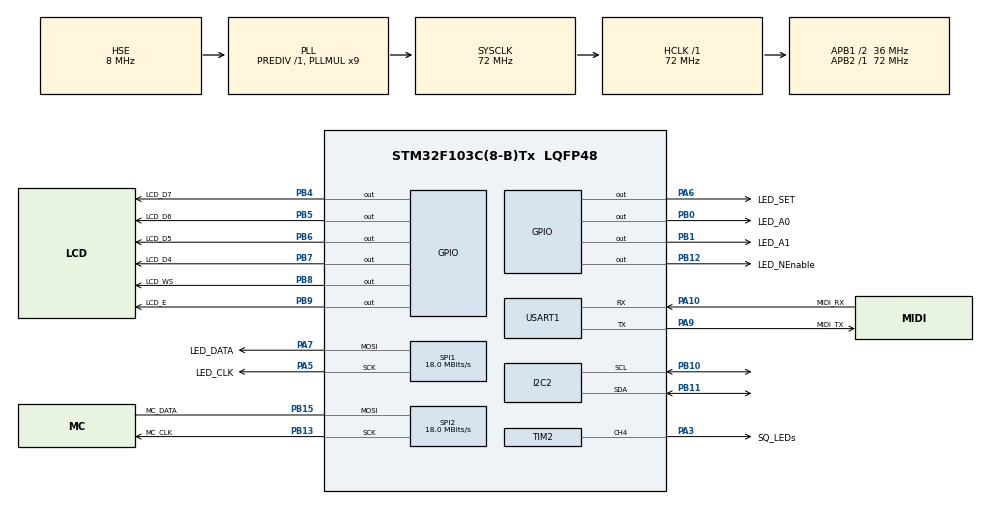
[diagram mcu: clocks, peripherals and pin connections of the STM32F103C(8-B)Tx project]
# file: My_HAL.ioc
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Dma.Request0=TIM2_CH2/CH4
Dma.TIM2_CH2/CH4.0.Direction=DMA_MEMORY_TO_PERIPH
Dma.TIM2_CH2/CH4.0.Instance=DMA1_Channel7
Dma.TIM2_CH2/CH4.0.MemDataAlignment=DMA_MDATAALIGN_BYTE
Dma.TIM2_CH2/CH4.0.MemInc=DMA_MINC_ENABLE
Dma.TIM2_CH2/CH4.0.Mode=DMA_CIRCULAR
Dma.TIM2_CH2/CH4.0.PeriphDataAlignment=DMA_PDATAALIGN_HALFWORD
Dma.TIM2_CH2/CH4.0.PeriphInc=DMA_PINC_DISABLE
Dma.TIM2_CH2/CH4.0.Priority=DMA_PRIORITY_VERY_HIGH
I2C2.I2C_Mode=I2C_Standard
Mcu.Family=STM32F1
Mcu.Name=STM32F103C(8-B)Tx
Mcu.Package=LQFP48
NVIC.DMA1_Channel7_IRQn=true\:0\:0\:false\:true\:true\:1\:false
NVIC.PriorityGroup=NVIC_PRIORITYGROUP_4
NVIC.SPI1_IRQn=true\:0\:0\:false\:false\:true\:true
NVIC.TIM4_IRQn=true\:0\:0\:false\:false\:true\:true
PA10.GPIO_Label=MIDI_RX
PA10.Mode=Asynchronous
PA10.Signal=USART1_RX
PA13.Mode=Serial_Wire
PA13.Signal=SYS_JTMS-SWDIO
PA14.Mode=Serial_Wire
PA14.Signal=SYS_JTCK-SWCLK
PA3.GPIO_Label=SQ_LEDs
PA3.GPIO_Speed=GPIO_SPEED_FREQ_HIGH
PA3.Signal=S_TIM2_CH4
PA5.GPIO_Label=LED_CLK
PA5.Mode=TX_Only_Simplex_Unidirect_Master
PA5.Signal=SPI1_SCK
PA6.GPIO_Label=LED_SET
PA6.GPIO_Speed=GPIO_SPEED_FREQ_LOW
PA6.Signal=GPIO_Output
PA7.GPIO_Label=LED_DATA
PA7.Mode=TX_Only_Simplex_Unidirect_Master
PA7.Signal=SPI1_MOSI
PA9.GPIO_Label=MIDI_TX
PA9.Mode=Asynchronous
PA9.Signal=USART1_TX
PB0.GPIO_Label=LED_A0
PB0.Signal=GPIO_Output
PB1.GPIO_Label=LED_A1
PB1.Signal=GPIO_Output
PB10.Mode=I2C
PB10.Signal=I2C2_SCL
PB11.Mode=I2C
PB11.Signal=I2C2_SDA
PB12.GPIO_Label=LED_NEnable
PB12.Signal=GPIO_Output
PB13.GPIO_Label=MC_CLK
PB13.Mode=Simplex_Bidirectional_Master
PB13.Signal=SPI2_SCK
PB15.GPIO_Label=MC_DATA
PB15.Mode=Simplex_Bidirectional_Master
PB15.Signal=SPI2_MOSI
PB4.GPIO_Label=LCD_D7
PB4.Signal=GPIO_Output
PB5.GPIO_Label=LCD_D6
PB5.Signal=GPIO_Output
PB6.GPIO_Label=LCD_D5
PB6.Signal=GPIO_Output
PB7.GPIO_Label=LCD_D4
PB7.Signal=GPIO_Output
PB8.GPIO_Label=LCD_WS
PB8.Signal=GPIO_Output
PB9.GPIO_Label=LCD_E
PB9.Signal=GPIO_Output
PD0-OSC_IN.Mode=HSE-External-Oscillator
PD0-OSC_IN.Signal=RCC_OSC_IN
PD1-OSC_OUT.Mode=HSE-External-Oscillator
PD1-OSC_OUT.Signal=RCC_OSC_OUT
ProjectManager.HeapSize=0x200
ProjectManager.StackSize=0x400
ProjectManager.TargetToolchain=SW4STM32
RCC.AHBFreq_Value=72000000
RCC.APB1CLKDivider=RCC_HCLK_DIV2
RCC.APB1Freq_Value=36000000
RCC.APB1TimFreq_Value=72000000
RCC.APB2Freq_Value=72000000
RCC.APB2TimFreq_Value=72000000
RCC.HCLKFreq_Value=72000000
RCC.PLLMUL=RCC_PLL_MUL9
RCC.PLLSourceVirtual=RCC_PLLSOURCE_HSE
RCC.SYSCLKFreq_VALUE=72000000
RCC.SYSCLKSource=RCC_SYSCLKSOURCE_PLLCLK
RCC.USBFreq_Value=72000000
SH.S_TIM2_CH4.0=TIM2_CH4,PWM Generation4 CH4
SPI1.BaudRatePrescaler=SPI_BAUDRATEPRESCALER_4
SPI1.CalculateBaudRate=18.0 MBits/s
SPI1.Direction=SPI_DIRECTION_2LINES
SPI1.Mode=SPI_MODE_MASTER
SPI1.VirtualType=VM_MASTER
SPI2.CalculateBaudRate=18.0 MBits/s
SPI2.Direction=SPI_DIRECTION_1LINE
SPI2.Mode=SPI_MODE_MASTER
SPI2.VirtualType=VM_MASTER
TIM2.Channel-PWM\ Generation4\ CH4=TIM_CHANNEL_4
TIM2.Period=40
TIM2.Prescaler=1
TIM4.Period=9
TIM4.Prescaler=7199
USART1.VirtualMode=VM_ASYNC
VP_TIM4_VS_ClockSourceINT.Mode=Internal
board=My_HAL

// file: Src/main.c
/**
 ******************************************************************************
 * @file           : main.c
 * @brief          : Main program body
 ******************************************************************************
 ******************************************************************************
 */
#include "main.h"
#include "stm32f1xx_hal.h"
#include "dma.h"
#include "i2c.h"
#include "spi.h"
#include "tim.h"
#include "usart.h"
#include "gpio.h"

/* USER CODE BEGIN Includes */
#include "global.h"
#include "lcd.h"
//#include "reg.h"
//#include "encoder.h"
//#include "My_enc.h"
#include "dig_LED.h"

#include "sequencer.h"
#include "MCP23017.h"
#include "MCP_button.h"

#include "DWT.h"

/* USER CODE END Includes */

/* USER CODE BEGIN PV */
/* Private variables ---------------------------------------------------------*/
volatile uint32_t millis = 0; // global ms counter
volatile uint32_t t_prev1 = 0;
char* str = "kek";

//u8 dataToSend[4] = { 'b', 0, 7, 1 };

#define PREAMBLESIZE 20                          // for leds
hsv led_hsv[DIG_LED_NUMBER];                       //
rgb led_rgb[DIG_LED_NUMBER];                       //
uint8_t buf[PREAMBLESIZE + DIG_LED_NUMBER * 24];   //
/* USER CODE END PV */

void SystemClock_Config(void);
static void MX_NVIC_Init(void);

/* USER CODE BEGIN PFP */
/* Private function prototypes -----------------------------------------------*/

/* USER CODE END PFP */

int main(void) {

	/* MCU Configuration----------------------------------------------------------*/

	/* Reset of all peripherals, Initializes the Flash interface and the Systick. */
	HAL_Init();

	/* Configure the system clock */
	SystemClock_Config();

	/* Initialize all configured peripherals */
	MX_GPIO_Init();
	MX_DMA_Init();
	MX_TIM4_Init();
	MX_I2C2_Init();
	MX_SPI1_Init();
	MX_TIM2_Init();
	MX_SPI2_Init();
	MX_USART1_UART_Init();

	/* Initialize interrupts */
	MX_NVIC_Init();
	/* USER CODE BEGIN 2 */
	HAL_TIM_Base_Start_IT(&htim4);   // timer 4 start
	LCD_Init();
	_LCD_STATE(CURSOR_ON, CURSOR_BLINK, DISPLAY_ON);

//	__HAL_RCC_I2C2_FORCE_RESET();  kek
//	HAL_Delay(1);
//	__HAL_RCC_I2C2_RELEASE_RESET();

	MCP23017_Init();
	MCP_Buttons_InitAll();
	//Reg_Init();

	//for (uint8_t i = 0; i < DIG_LED_NUMBER; i++) {  // for leds
	//	led_rgb[i] = hsv2rgb(led_hsv[i]);
	//}

	u16 yy = 0;                      // test

	/* USER CODE END 2 */

	/* Infinite loop */
	while (1) {

		/* USER CODE BEGIN 3 */

		//				HAL_Delay(5000);
		//				for (int i = 0; i < 4; i++)
		//					Reg_Send(&dataToSend[i]);
		if (yy < 360)
			yy++;
		else
			yy = 0;

		for (uint8_t i = 0; i < DIG_LED_NUMBER; i++) {  // for leds
			led_hsv[i].h = (yy + 5 * i) % 361;
			led_hsv[i].s = 1;
			led_hsv[i].v = 0.01;
			led_rgb[i] = hsv2rgb(led_hsv[i]);
			setLEDcolor(i, led_rgb[i].r * 255, led_rgb[i].g * 255,
					led_rgb[i].b * 255);
		}
		//
		//		//setWHOLEcolor(255, 0, 255);
		//		//setWHOLEcolor(led_rgb[0].r*255, led_rgb[0].g*255, led_rgb[0].b*255);
		DIG_LED_update();
		HAL_Delay(5);
		u8 a[NUM_OF_BTNs];

		sequencer_func(BTN_Read_All(MCP23017_ADDR(3), a));
	}

}
/* USER CODE END 3 */

void SystemClock_Config(void) {

	RCC_OscInitTypeDef RCC_OscInitStruct;
	RCC_ClkInitTypeDef RCC_ClkInitStruct;

	/**Initializes the CPU, AHB and APB busses clocks
	 */
	RCC_OscInitStruct.OscillatorType = RCC_OSCILLATORTYPE_HSE;
	RCC_OscInitStruct.HSEState = RCC_HSE_ON;
	RCC_OscInitStruct.HSEPredivValue = RCC_HSE_PREDIV_DIV1;
	RCC_OscInitStruct.HSIState = RCC_HSI_ON;
	RCC_OscInitStruct.PLL.PLLState = RCC_PLL_ON;
	RCC_OscInitStruct.PLL.PLLSource = RCC_PLLSOURCE_HSE;
	RCC_OscInitStruct.PLL.PLLMUL = RCC_PLL_MUL9;
	if (HAL_RCC_OscConfig(&RCC_OscInitStruct) != HAL_OK) {
		_Error_Handler(__FILE__, __LINE__);
	}

	/**Initializes the CPU, AHB and APB busses clocks
	 */
	RCC_ClkInitStruct.ClockType = RCC_CLOCKTYPE_HCLK | RCC_CLOCKTYPE_SYSCLK
			| RCC_CLOCKTYPE_PCLK1 | RCC_CLOCKTYPE_PCLK2;
	RCC_ClkInitStruct.SYSCLKSource = RCC_SYSCLKSOURCE_PLLCLK;
	RCC_ClkInitStruct.AHBCLKDivider = RCC_SYSCLK_DIV1;
	RCC_ClkInitStruct.APB1CLKDivider = RCC_HCLK_DIV2;
	RCC_ClkInitStruct.APB2CLKDivider = RCC_HCLK_DIV1;

	if (HAL_RCC_ClockConfig(&RCC_ClkInitStruct, FLASH_LATENCY_2) != HAL_OK) {
		_Error_Handler(__FILE__, __LINE__);
	}

	/**Configure the Systick interrupt time
	 */
	HAL_SYSTICK_Config(HAL_RCC_GetHCLKFreq() / 1000);

	/**Configure the Systick
	 */
	HAL_SYSTICK_CLKSourceConfig(SYSTICK_CLKSOURCE_HCLK);

	/* SysTick_IRQn interrupt configuration */
	HAL_NVIC_SetPriority(SysTick_IRQn, 0, 0);
}

/**
 * @brief NVIC Configuration.
 * @retval None
 */
static void MX_NVIC_Init(void) {
	/* DMA1_Channel7_IRQn interrupt configuration */
	HAL_NVIC_SetPriority(DMA1_Channel7_IRQn, 0, 0);
	HAL_NVIC_EnableIRQ(DMA1_Channel7_IRQn);
}

void _Error_Handler(char *file, int line) {
	while (1) {
	}
}

/************************ (C) COPYRIGHT STMicroelectronics *****END OF FILE****/
